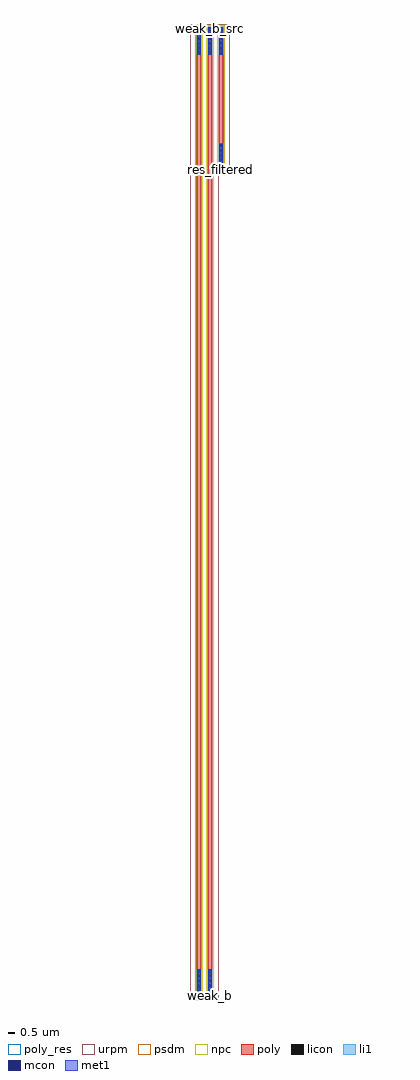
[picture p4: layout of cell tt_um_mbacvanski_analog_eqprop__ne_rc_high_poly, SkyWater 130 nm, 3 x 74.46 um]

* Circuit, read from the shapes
.subckt tt_um_mbacvanski_analog_eqprop__ne_rc_high_poly res_filtered res_sel weak weak_b weak_b_src weak_src
XR1 weak_src weak VSUBS sky130_fd_pr__res_xhigh_po w=0.35 l=69.78
XR2 weak_b_src weak_b VSUBS sky130_fd_pr__res_xhigh_po w=0.35 l=69.78
XR3 res_sel res_filtered VSUBS sky130_fd_pr__res_xhigh_po w=0.35 l=6.78
.ends

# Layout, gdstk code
import gdstk
lib = gdstk.Library(unit=1e-6, precision=1e-09)
def R(c, l, rs):  # rectangles x0, y0, x1, y1
    for r in rs: c.add(gdstk.rectangle(r[:2], r[2:], *l))
def A(c, l, x, y, w, h, nx, ny, dx, dy):  # array of equal rectangles
    R(c, l, [(x+i*dx, y+j*dy, x+i*dx+w, y+j*dy+h) for i in range(nx) for j in range(ny)])
def P(c, l, *ps):  # polygons
    for p in ps: c.add(gdstk.Polygon(p, *l))
poly_res = (66, 13)
poly = (66, 20)
licon = (66, 44)
li1 = (67, 20)
mcon = (67, 44)
met1 = (68, 20)
urpm = (79, 20)
psdm = (94, 20)
npc = (95, 20)

tt_um_mbacvanski_analog_ = lib.new_cell('tt_um_mbacvanski_analog_eqprop__ne_rc_high_poly')
R(tt_um_mbacvanski_analog_, poly_res, [(-0.175,-34.95,0.175,34.95), (0.655,-34.95,1.005,34.95), (1.485,28.05,1.835,34.95)])
R(tt_um_mbacvanski_analog_, poly, [(-0.175,-37.03,0.175,37.03), (0.655,-37.03,1.005,37.03), (1.485,25.97,1.835,37.03)])
A(tt_um_mbacvanski_analog_, licon, -0.095, 34.95, 0.19, 2, 3, 1, 0.83, 0)
R(tt_um_mbacvanski_analog_, licon, [(-0.095,-36.95,0.095,-34.95), (0.735,-36.95,0.925,-34.95), (1.565,26.05,1.755,28.05)])
A(tt_um_mbacvanski_analog_, li1, -0.175, 34.87, 0.35, 2.16, 3, 1, 0.83, 0)
R(tt_um_mbacvanski_analog_, li1, [(-0.175,-37.03,0.175,-34.87), (0.655,-37.03,1.005,-34.87), (1.485,25.97,1.835,28.13)])
A(tt_um_mbacvanski_analog_, mcon, -0.085, -36.935, 0.17, 0.17, 1, 6, 0, 0.36)
A(tt_um_mbacvanski_analog_, mcon, 0.745, -36.935, 0.17, 0.17, 1, 6, 0, 0.36)
A(tt_um_mbacvanski_analog_, mcon, 1.575, 26.065, 0.17, 0.17, 1, 6, 0, 0.36)
A(tt_um_mbacvanski_analog_, mcon, -0.085, 34.96, 0.17, 0.17, 3, 6, 0.83, 0.36)
A(tt_um_mbacvanski_analog_, met1, -0.125, 34.895, 0.25, 2.105, 3, 1, 0.83, 0)
R(tt_um_mbacvanski_analog_, met1, [(-0.125,-37,0.125,-34.895), (0.705,-37,0.955,-34.895), (1.535,26,1.785,28.105)])
P(tt_um_mbacvanski_analog_, urpm, [(-0.67,-37.23),(-0.67,37.23),(2.33,37.23),(2.33,25.77),(1.5,25.77),(1.5,-37.23)])
R(tt_um_mbacvanski_analog_, psdm, [(-0.285,-37.14,0.285,37.14), (0.285,-37.14,0.545,37.14), (0.545,-37.14,1.115,37.14), (1.115,25.86,1.375,37.14), (1.375,25.86,1.945,37.14)])
R(tt_um_mbacvanski_analog_, npc, [(-0.27,-37.125,0.27,37.125), (0.56,-37.125,1.1,37.125), (1.39,25.875,1.93,37.125)])
tt_um_mbacvanski_analog_.add(gdstk.Label('res_filtered', (1.66,26.145), layer=68, texttype=5))
tt_um_mbacvanski_analog_.add(gdstk.Label('weak_b', (0.83,-36.855), layer=68, texttype=5))
tt_um_mbacvanski_analog_.add(gdstk.Label('weak_b_src', (0.83,36.855), layer=68, texttype=5))
tt_um_mbacvanski_analog_.add(gdstk.Label('res_sel', (1.66,36.855), layer=68, texttype=5))
tt_um_mbacvanski_analog_.add(gdstk.Label('weak', (0,-36.855), layer=68, texttype=5))
tt_um_mbacvanski_analog_.add(gdstk.Label('weak_src', (0,36.855), layer=68, texttype=5))

lib.write_gds('tt_um_mbacvanski_analog_eqprop__ne_rc_high_poly.gds')
